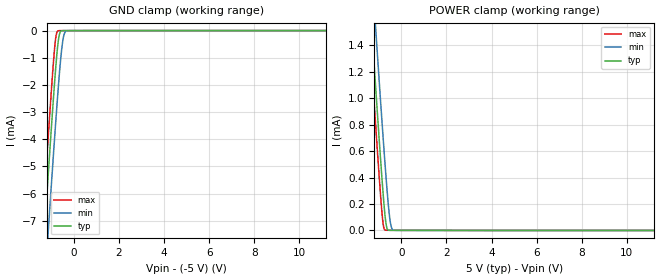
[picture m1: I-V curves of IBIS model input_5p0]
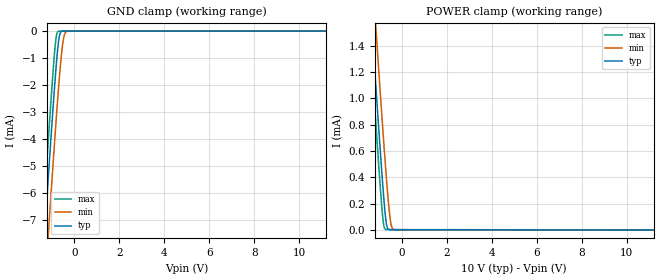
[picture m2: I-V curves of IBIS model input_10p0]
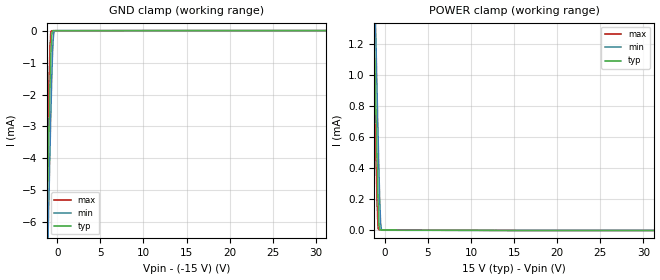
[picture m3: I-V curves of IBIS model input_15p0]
|Texas Instruments Incorporated
|TMUX6136, 36-V, Low Capacitance, Low-Leakage-Current, Precision,
|Dual SPDT Switch
[IBIS Ver]   4.1
[File name]   tmux6136.ibs
[Date]   10/31/2018
[File Rev]   1.0
[Source]
| Texas Instruments Incorporated.
| Analog-eLab Design Center, HPA
| 12500 TI Blvd
| Dallas, TX -75243
[Notes]   Revision History:
| Rev 1.0: 10/31/2018
| - Initial version of the model
| - Model generated from simulations in SPECTRE
| - Model names with a trailing _5p0 contain the model for 5.0V operation.
|   Model names with a trailing _10p0 contain the model for 10.0V operation.
|   Model names with a trailing _15p0 contain the model for 15.0V operation.
|   Model names with a trailing _33p0 contain the model for 33.0V operation.
| - C_comp although listed in numerical order of value are
|   obtained from varying PVT conditions. For PVT conditions for
|   each specific value refer the buffer description under
|   respective [Model]. IBIS model user is responsible for using
|   appropriate C_comp to simulate for Signal Integrity.
[Disclaimer]
| This model is designed as an aid for customers of Texas Instruments.
| TI and its licensors and suppliers make no warranties, either expressed
| or implied, with respect to this  model, including the warranties of
| merchantability or fitness for a particular purpose. The model is
| provided solely on an "as is" basis. The entire risk as to its quality
| and performance is with the customer.
| This model is subject to change without notice. Texas Instruments
| Incorporated is not responsible for updating this model.
[Copyright]
(C) Copyright 2018 Texas Instruments Incorporated.All rights reserved.
|  Component TMUX6136PW 16-Pin TSSOP -PW package
|  Part # TMUX6136PW
[Component]   TMUX6136PW
[Manufacturer]   TI
[Package]   |16 TSSOP -PW package
|   typ   min   max
R_pkg   0.05   0.04   0.06
L_pkg   1.0nH   0.8nH   1.2nH
C_pkg   0.2pF   0.16pF   0.24pF
[Pin] signal_name  model_name   R_pin   L_pin   C_pin
1   SEL1   INPUT   NA   NA   NA
2   S1A   NC   NA   NA   NA
3   D1   NC   NA   NA   NA
4   S1B   NC   NA   NA   NA
5   VSS   POWER   NA   NA   NA
6   GND   GND   NA   NA   NA
7   N.C.   NC   NA   NA   NA
8   N.C.   NC   NA   NA   NA
9   SEL2   INPUT   NA   NA   NA
10   S2A   NC   NA   NA   NA
11   D2   NC   NA   NA   NA
12   S2B   NC   NA   NA   NA
13   VDD   POWER   NA   NA   NA
14   N.C.   NC   NA   NA   NA
15   N.C.   NC   NA   NA   NA
16   N.C.   NC   NA   NA   NA
|   Model Selectors
[Model Selector] INPUT
input_5p0   5V   digital Input
input_10p0   10V   digital Input
input_15p0   15V   digital Input
input_33p0   33V   digital Input
| Models and submodels in the file (4): input_5p0 (Input), input_10p0 (Input), input_15p0 (Input), input_33p0 (Input)
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|   input_5p0 Model
[Model]   input_5p0
Model_type   Input
Vinl = 2
Vinh = 0.8
|   typ   min   max
C_comp   0.358pF   0.356pF   0.361pF
| Where Nom  PVT is Nominal Process, 10V, 25C
|   Fast PVT is Strong Process,  11V, -40C
|   Slow PVT is Weak Process,   09V, 125C
[Voltage Range]   10   9   11
|Junction Temperature
[Temperature Range]   27   125   -40
[Power Clamp Reference]   5   4.5   5.5
[GND Clamp Reference]   -5   -4.5   -5.5
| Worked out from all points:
|   GND clamp passes 1 mA (typ) near -0.77 V on its own axis
|   POWER clamp passes 1 mA (typ) near -1.11 V on its own axis
[GND Clamp]
|   Voltage   I(typ)   I(min)   I(max)
-10V      -122.7mA   -124.2mA   -121.9mA
-1.42V    -8.845mA   -10.94mA   -7.472mA
-1.27V    -6.929mA   -9.033mA   -5.544mA
-1.15V    -5.415mA   -7.523mA   -4.026mA
-970mV    -3.204mA   -5.296mA   -1.838mA
-850mV    -1.816mA   -3.855mA   -580.2uA
-790mV    -1.182mA   -3.156mA   -171.6uA
-700mV    -414.1uA   -2.152mA   -7.066uA
-610mV    -53.99uA   -1.244mA   -1.599uA
-490mV    -1.686uA   -354.5uA   -1.486uA
-310mV    -846.9nA   -6.833uA   -1.443uA
20V       0A         0A         0A
[POWER Clamp]
|   Voltage   I(typ)   I(min)   I(max)
-10V      24.94mA    25.34mA    24.69mA
-1.42V    1.795mA    2.242mA    1.511mA
-1.3V     1.483mA    1.93mA     1.197mA
-1.12V    1.02mA     1.467mA    735uA
-850mV    360.2uA    790.9uA    107.9uA
-790mV    229.4uA    646.8uA    26.21uA
-700mV    70.11uA    438.8uA    2.029uA
-640mV    16.14uA    308.9uA    1.563uA
-520mV    1.094uA    94.98uA    1.508uA
-430mV    885.2nA    17.06uA    1.485uA
-340mV    864.3nA    1.97uA     1.463uA
20V       0A         0A         0A
|   input_10p0 Model
[Model]   input_10p0
Model_type   Input
Vinl = 2
Vinh = 0.8
|   typ   min   max
C_comp   0.366pF   0.363pF   0.370pF
| Where Nom  PVT is Nominal Process, 10V, 25C
|   Fast PVT is Strong Process,  11V, -40C
|   Slow PVT is Weak Process,   09V, 125C
[Voltage Range]   10   9   11
|Junction Temperature
[Temperature Range]   27   125   -40
[Power Clamp Reference]   10   9   11
[GND Clamp Reference]   0   0   0
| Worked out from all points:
|   GND clamp passes 1 mA (typ) near -0.77 V on its own axis
|   POWER clamp passes 1 mA (typ) near -1.11 V on its own axis
[GND Clamp]
|   Voltage   I(typ)   I(min)   I(max)
-10V      -122.7mA   -124.2mA   -121.9mA
-1.42V    -8.845mA   -10.94mA   -7.472mA
-1.27V    -6.929mA   -9.033mA   -5.544mA
-1.15V    -5.415mA   -7.522mA   -4.025mA
-970mV    -3.204mA   -5.296mA   -1.838mA
-850mV    -1.816mA   -3.855mA   -579.6uA
-790mV    -1.182mA   -3.156mA   -170.8uA
-700mV    -413.6uA   -2.152mA   -5.772uA
-610mV    -53.35uA   -1.244mA   -201.1nA
-490mV    -861.9nA   -354.2uA   -85nA
-310mV    -14.25nA   -6.398uA   -42.25nA
20V       0A         0A         0A
[POWER Clamp]
|   Voltage   I(typ)   I(min)   I(max)
-10V      24.94mA    25.34mA    24.69mA
-1.42V    1.796mA    2.243mA    1.512mA
-1.3V     1.484mA    1.931mA    1.199mA
-1.12V    1.021mA    1.467mA    736.4uA
-850mV    361uA      791.3uA    109.3uA
-790mV    230.2uA    647.2uA    27.61uA
-700mV    70.94uA    439.2uA    3.429uA
-640mV    16.97uA    309.4uA    2.964uA
-520mV    1.927uA    95.44uA    2.909uA
-430mV    1.718uA    17.52uA    2.886uA
-340mV    1.697uA    2.425uA    2.863uA
20V       0A         0A         0A
|   input_15p0 Model
[Model]   input_15p0
Model_type   Input
Vinl = 2
Vinh = 0.8
|   typ   min   max
C_comp   0.331pF   0.328pF   0.334pF
| Where Nom  PVT is Nominal Process, 30V, 25C
|   Fast PVT is Strong Process,  33V, -40C
|   Slow PVT is Weak Process,   27V, 125C
[Voltage Range]   30   27   33
|Junction Temperature
[Temperature Range]   27   125   -40
[Power Clamp Reference]   15   13.5   16.5
[GND Clamp Reference]   -15   -13.5   -16.5
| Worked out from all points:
|   GND clamp passes 1 mA (typ) near -0.77 V on its own axis
|   POWER clamp passes 1 mA (typ) near -1.11 V on its own axis
[GND Clamp]
|   Voltage   I(typ)   I(min)   I(max)
-30V      -408mA     -425.8mA   -391.2mA
-1.38V    -8.333mA   -10.43mA   -6.957mA
-1.29V    -7.184mA   -9.286mA   -5.801mA
-1.2V     -6.044mA   -8.15mA    -4.656mA
-1.11V    -4.917mA   -7.023mA   -3.528mA
-1.02V    -3.809mA   -5.909mA   -2.428mA
-840mV    -1.707mA   -3.737mA   -497.3uA
-750mV    -804.6uA   -2.702mA   -49.55uA
-660mV    -197.4uA   -1.733mA   -5.082uA
-480mV    -3.007uA   -305.9uA   -4.207uA
-210mV    -2.425uA   -1.669uA   -4.152uA
60V       0A         0A         0A
[POWER Clamp]
|   Voltage   I(typ)   I(min)   I(max)
-30V      151.4mA    209.2mA    94.31mA
-1.38V    1.693mA    2.139mA    1.409mA
-1.29V    1.458mA    1.905mA    1.174mA
-1.2V     1.226mA    1.673mA    941.7uA
-1.11V    996.3uA    1.442mA    712.5uA
-1.02V    770uA      1.214mA    488.8uA
-840mV    339.3uA    767.5uA    93.31uA
-750mV    152.4uA    553.7uA    9.343uA
-660mV    29.88uA    352uA      4.367uA
-480mV    2.552uA    50.19uA    4.256uA
-300mV    2.481uA    1.811uA    4.212uA
60V       0A         0A         0A
